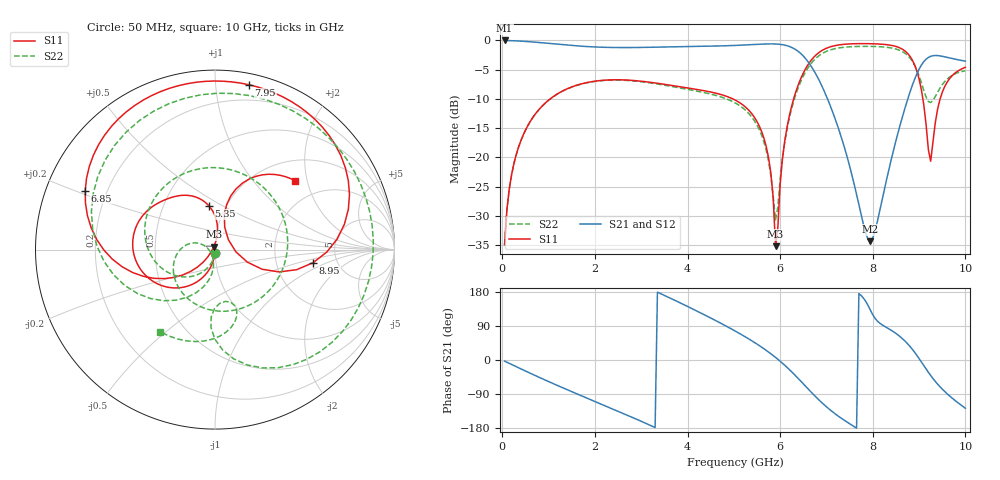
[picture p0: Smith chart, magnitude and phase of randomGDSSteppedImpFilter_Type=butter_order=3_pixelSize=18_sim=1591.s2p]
! freq	dB(S11)	phase(S11)	dB(S12)	phase(S12)
!  dB(S21)	phase(S21)	dB(S22)	phase(S22)
!S-par simulation data
#  GHz  S  DB  R 50
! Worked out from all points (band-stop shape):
!   200 points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, 50 MHz to 10 GHz, reference 50 ohm
!   highest |S21| = -0.01 dB at 50 MHz (marker M1); lowest = -34.3 dB at 7.95 GHz (marker M2)
!   |S21| within 3 dB of the highest: start of sweep to 6.538 GHz; 9.184 GHz to 9.665 GHz (480.2 MHz wide, 5.1 % of centre)
!   lowest |S11| = -35.2 dB at 5.9 GHz (marker M3), VSWR 1.04, Z = 49.3 + j1.59 ohm
!   |S11| at or under -10 dB: start of sweep to 1.033 GHz; 4.979 GHz to 6.291 GHz (1.312 GHz wide, 23.3 % of centre); 9.081 GHz to 9.454 GHz (372.8 MHz wide, 4.02 % of centre)
!   |S22| runs from -34.9 to -1.0 dB; largest |S21 - S12| = 0
!   S11 on the Smith chart (normalised r, x): 50 MHz: 1.00, -0.04; 5.35 GHz: 0.83, +0.43; 6.85 GHz: 0.12, +0.21; 7.95 GHz: 0.08, +1.22; 8.95 GHz: 3.29, -0.69; 10 GHz: 1.44, +1.69
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0.05  -34.91 -92.3  -0.01 -3.0  -0.01 -3.0  -34.90 -93.4
0.2  -22.98 -99.8  -0.04 -11.8  -0.04 -11.8  -22.99 -104.2
0.5  -15.34 -114.1  -0.17 -29.1  -0.17 -29.1  -15.36 -125.1
1.75  -7.34 -165.3  -1.01 -96.5  -1.01 -96.5  -7.37 151.2
2.6  -6.74 167.4  -1.22 -140.4  -1.22 -140.4  -6.80 91.1
3.4  -7.38 147.2  -1.14 176.2  -1.14 176.2  -7.52 25.2
4.3  -8.51 128.7  -1.01 123.3  -1.01 123.3  -8.82 -61.0
5.05  -10.28 108.8  -0.85 75.0  -0.85 75.0  -10.78 -136.3
5.35  -12.17 98.0  -0.73 53.6  -0.73 53.6  -12.74 -166.7
5.75  -20.06 82.0  -0.59 21.0  -0.59 21.0  -20.67 158.3
5.9  -35.17 112.1  -0.61 6.9  -0.61 6.9  -30.70 -161.7
6.15  -14.80 -138.1  -0.91 -19.6  -0.91 -19.6  -15.06 -101.9
6.7  -3.10 170.1  -4.79 -88.6  -4.79 -88.6  -3.64 178.3
6.85  -2.00 155.5  -6.95 -106.8  -6.95 -106.8  -2.54 155.5
7.35  -0.69 115.7  -17.30 -156.2  -17.30 -156.2  -1.20 89.1
7.95  -0.56 78.4  -34.31 131.1  -34.31 131.1  -1.02 24.0
8.35  -0.78 52.4  -21.99 82.0  -21.99 82.0  -1.23 -16.7
8.7  -1.84 22.2  -11.44 49.4  -11.44 49.4  -2.22 -55.9
8.95  -5.19 -7.7  -5.75 12.7  -5.75 12.7  -5.02 -85.7
9.25  -20.65 36.5  -2.72 -40.9  -2.72 -40.9  -10.62 -78.3
9.5  -8.88 70.8  -2.71 -76.9  -2.71 -76.9  -7.58 -74.7
10  -4.60 40.6  -3.54 -127.3  -3.54 -127.3  -5.19 -123.7
